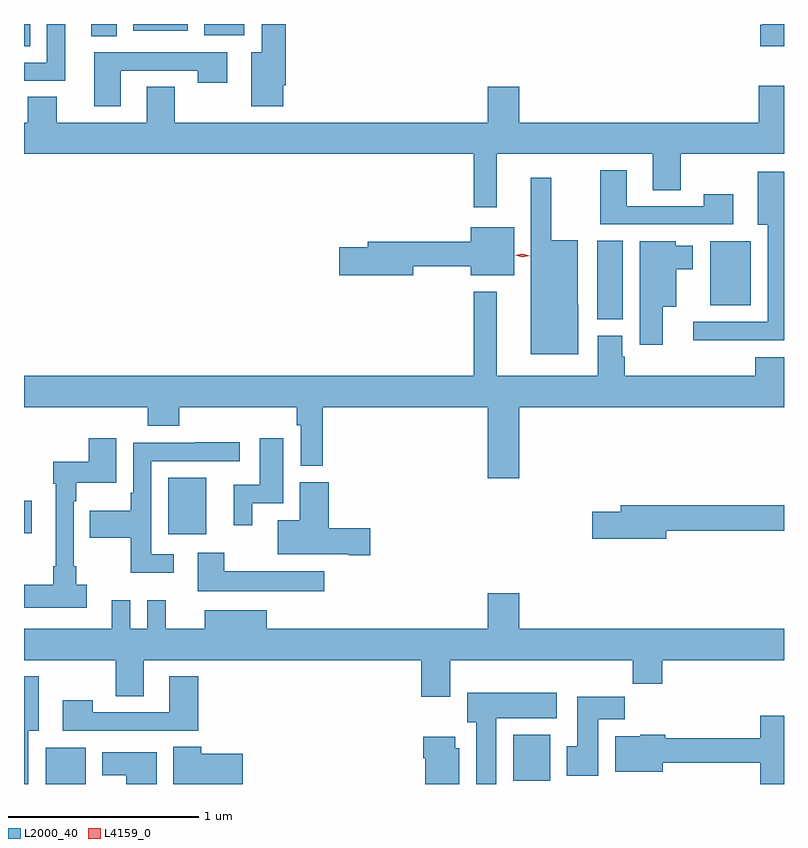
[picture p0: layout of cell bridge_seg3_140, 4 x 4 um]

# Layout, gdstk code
import gdstk
lib = gdstk.Library(unit=1e-6, precision=1e-09)
def R(c, l, rs):  # rectangles x0, y0, x1, y1
    for r in rs: c.add(gdstk.rectangle(r[:2], r[2:], *l))
def P(c, l, *ps):  # polygons
    for p in ps: c.add(gdstk.Polygon(p, *l))
L2000_40 = (2000, 40)
L4159_0 = (4159, 0)

bridge_seg3_140 = lib.new_cell('bridge_seg3_140')
R(bridge_seg3_140, L2000_40, [(318.524,672.292,318.736,672.484), (320.984,672.308,321.181,672.55), (319.169,673.607,319.369,673.903), (318.41,673.613,318.451,673.784), (321.428,674.737,321.562,675.152), (322.022,674.813,322.234,675.148), (318.41,676.176,318.442,676.292), (318.764,676.228,318.898,676.292), (319.358,676.232,319.57,676.292), (318.986,676.256,319.273,676.292)])
P(bridge_seg3_140, L2000_40, [(322.41,676.292),(322.298,676.292),(322.298,676.288),(322.286,676.288),(322.286,676.176),(322.41,676.176)],
  [(319.774,675.97),(319.787,675.97),(319.787,676.292),(319.661,676.292),(319.661,676.144),(319.607,676.144),(319.607,675.858),(319.774,675.858)],
  [(318.628,676.292),(318.531,676.292),(318.531,676.089),(318.41,676.089),(318.41,675.993),(318.628,675.993)],
  [(318.919,676.047),(319.324,676.047),(319.324,675.984),(319.48,675.984),(319.48,676.143),(318.779,676.143),(318.779,675.858),(318.919,675.858)],
  [(320.899,675.608),(321.719,675.608),(321.719,675.418),(321.867,675.418),(321.867,675.608),(322.41,675.608),(322.41,675.967),(322.277,675.967),(322.277,675.772),(321.016,675.772),(321.016,675.961),(320.852,675.961),(320.852,675.772),(319.203,675.772),(319.203,675.962),(319.055,675.962),(319.055,675.772),(318.583,675.772),(318.583,675.908),(318.431,675.908),(318.431,675.772),(318.41,675.772),(318.41,675.608),(320.778,675.608),(320.778,675.327),(320.899,675.327)],
  [(322.144,675.397),(321.988,675.397),(321.988,675.333),(321.583,675.333),(321.583,675.523),(321.443,675.523),(321.443,675.237),(322.144,675.237)],
  [(322.41,675.514),(322.271,675.514),(322.271,675.236),(322.325,675.236),(322.325,674.724),(321.933,674.724),(321.933,674.627),(322.41,674.627)],
  [(321.328,674.814),(321.325,674.814),(321.325,675.154),(321.184,675.154),(321.184,675.484),(321.077,675.484),(321.077,674.555),(321.328,674.555)],
  [(320.458,675.016),(320.762,675.016),(320.762,674.969),(320.989,674.969),(320.989,675.223),(320.762,675.223),(320.762,675.145),(320.219,675.145),(320.219,675.116),(320.07,675.116),(320.07,674.969),(320.458,674.969)],
  [(321.772,674.804),(321.844,674.804),(321.844,675.002),(321.931,675.002),(321.931,675.124),(321.84,675.124),(321.84,675.148),(321.65,675.148),(321.65,674.604),(321.772,674.604)],
  [(321.016,674.276),(322.41,674.276),(322.41,674.539),(322.259,674.539),(322.259,674.44),(321.572,674.44),(321.572,674.541),(321.559,674.541),(321.559,674.652),(321.431,674.652),(321.431,674.44),(320.899,674.44),(320.899,674.884),(320.778,674.884),(320.778,674.44),(318.41,674.44),(318.41,674.276),(319.061,674.276),(319.061,674.177),(319.226,674.177),(319.226,674.276),(319.846,674.276),(319.846,674.18),(319.866,674.18),(319.866,673.968),(319.982,673.968),(319.982,674.276),(320.852,674.276),(320.852,673.902),(321.016,673.902)],
  [(318.739,673.342),(318.685,673.342),(318.685,673.438),(318.672,673.438),(318.672,673.781),(318.685,673.781),(318.685,673.877),(318.895,673.877),(318.895,674.113),(318.752,674.113),(318.752,673.987),(318.564,673.987),(318.564,673.871),(318.576,673.871),(318.576,673.438),(318.564,673.438),(318.564,673.342),(318.41,673.342),(318.41,673.22),(318.739,673.22)],
  [(319.612,673.77),(319.774,673.77),(319.774,674.113),(319.652,674.113),(319.652,673.866),(319.514,673.866),(319.514,673.653),(319.612,673.653)],
  [(319.198,673.5),(319.08,673.5),(319.08,673.992),(319.546,673.992),(319.546,674.09),(319.309,674.09),(319.309,674.088),(318.984,674.088),(318.984,673.825),(318.972,673.825),(318.972,673.729),(318.757,673.729),(318.757,673.589),(318.972,673.589),(318.972,673.403),(319.198,673.403)],
  [(320.233,673.637),(320.015,673.637),(320.015,673.879),(319.862,673.879),(319.862,673.681),(319.745,673.681),(319.745,673.502),(320.12,673.502),(320.12,673.495),(320.233,673.495)],
  [(321.79,673.624),(322.41,673.624),(322.41,673.76),(321.551,673.76),(321.551,673.724),(321.402,673.724),(321.402,673.582),(321.79,673.582)],
  [(319.99,673.411),(319.465,673.411),(319.465,673.51),(319.325,673.51),(319.325,673.307),(319.99,673.307)],
  [(320.653,672.944),(321.613,672.944),(321.613,672.82),(321.77,672.82),(321.77,672.944),(322.41,672.944),(322.41,673.108),(321.016,673.108),(321.016,673.297),(320.852,673.297),(320.852,673.108),(319.687,673.108),(319.687,673.207),(319.361,673.207),(319.361,673.108),(319.157,673.108),(319.157,673.258),(319.059,673.258),(319.059,673.108),(318.969,673.108),(318.969,673.258),(318.872,673.258),(318.872,673.108),(318.41,673.108),(318.41,672.944),(318.892,672.944),(318.892,672.754),(319.039,672.754),(319.039,672.944),(320.501,672.944),(320.501,672.75),(320.653,672.75)],
  [(318.433,672.572),(318.487,672.572),(318.487,672.859),(318.41,672.859),(318.41,672.292),(318.433,672.292)],
  [(319.328,672.859),(319.175,672.859),(319.175,672.669),(318.771,672.669),(318.771,672.733),(318.615,672.733),(318.615,672.573),(319.328,672.573)],
  [(320.896,672.638),(321.214,672.638),(321.214,672.772),(320.744,672.772),(320.744,672.618),(320.789,672.618),(320.789,672.292),(320.896,672.292)],
  [(321.433,672.632),(321.572,672.632),(321.572,672.751),(321.323,672.751),(321.323,672.492),(321.266,672.492),(321.266,672.336),(321.433,672.336)],
  [(322.41,672.652),(322.286,672.652),(322.286,672.532),(321.785,672.532),(321.785,672.55),(321.654,672.55),(321.654,672.544),(321.521,672.544),(321.521,672.356),(321.772,672.356),(321.772,672.403),(322.286,672.403),(322.286,672.292),(322.41,672.292)],
  [(320.701,672.48),(320.68,672.48),(320.68,672.541),(320.51,672.541),(320.51,672.428),(320.522,672.428),(320.522,672.292),(320.701,672.292)],
  [(319.561,672.452),(319.343,672.452),(319.343,672.488),(319.196,672.488),(319.196,672.292),(319.561,672.292)],
  [(319.108,672.46),(318.821,672.46),(318.821,672.338),(318.947,672.338),(318.947,672.292),(319.108,672.292)])
P(bridge_seg3_140, L4159_0, [(321.033,675.064),(320.995,675.075),(320.995,675.075),(320.995,675.075),(321.033,675.084),(321.071,675.072),(321.072,675.072),(321.071,675.072)])

lib.write_gds('bridge_seg3_140.gds')
